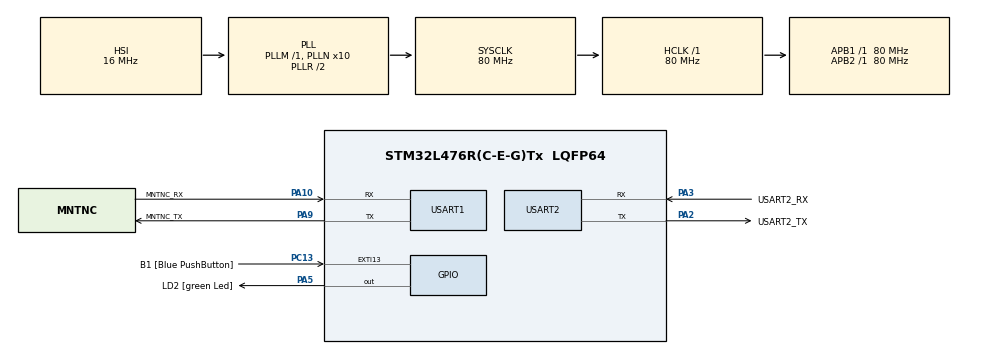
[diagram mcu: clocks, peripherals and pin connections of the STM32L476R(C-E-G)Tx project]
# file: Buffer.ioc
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Mcu.Family=STM32L4
Mcu.Name=STM32L476R(C-E-G)Tx
Mcu.Package=LQFP64
NVIC.EXTI15_10_IRQn=true\:0\:0\:false\:false\:true\:true\:true
NVIC.PriorityGroup=NVIC_PRIORITYGROUP_4
NVIC.USART1_IRQn=true\:0\:0\:false\:false\:true\:true\:true
NVIC.USART2_IRQn=true\:0\:0\:false\:false\:true\:true\:true
PA10.GPIO_Label=MNTNC_RX
PA10.Mode=Asynchronous
PA10.Signal=USART1_RX
PA13\ (JTMS-SWDIO).GPIO_Label=TMS
PA13\ (JTMS-SWDIO).Mode=Serial_Wire
PA13\ (JTMS-SWDIO).Signal=SYS_JTMS-SWDIO
PA14\ (JTCK-SWCLK).GPIO_Label=TCK
PA14\ (JTCK-SWCLK).Mode=Serial_Wire
PA14\ (JTCK-SWCLK).Signal=SYS_JTCK-SWCLK
PA2.GPIO_Label=USART2_TX
PA2.GPIO_Mode=GPIO_MODE_AF_PP
PA2.GPIO_PuPd=GPIO_NOPULL
PA2.GPIO_Speed=GPIO_SPEED_FREQ_VERY_HIGH
PA2.Mode=Asynchronous
PA2.Signal=USART2_TX
PA3.GPIO_Label=USART2_RX
PA3.GPIO_Mode=GPIO_MODE_AF_PP
PA3.GPIO_PuPd=GPIO_NOPULL
PA3.GPIO_Speed=GPIO_SPEED_FREQ_VERY_HIGH
PA3.Mode=Asynchronous
PA3.Signal=USART2_RX
PA5.GPIO_Label=LD2 [green Led]
PA5.GPIO_ModeDefaultOutputPP=GPIO_MODE_OUTPUT_PP
PA5.GPIO_PuPd=GPIO_NOPULL
PA5.GPIO_Speed=GPIO_SPEED_FREQ_LOW
PA5.Signal=GPIO_Output
PA9.GPIO_Label=MNTNC_TX
PA9.Mode=Asynchronous
PA9.Signal=USART1_TX
PB3\ (JTDO-TRACESWO).GPIO_Label=SWO
PB3\ (JTDO-TRACESWO).Signal=SYS_JTDO-SWO
PC13.GPIO_Label=B1 [Blue PushButton]
PC13.GPIO_ModeDefaultEXTI=GPIO_MODE_IT_FALLING
PC13.GPIO_PuPd=GPIO_NOPULL
PC13.Signal=GPXTI13
PC14-OSC32_IN\ (PC14).Mode=LSE-External-Oscillator
PC14-OSC32_IN\ (PC14).Signal=RCC_OSC32_IN
PC15-OSC32_OUT\ (PC15).Mode=LSE-External-Oscillator
PC15-OSC32_OUT\ (PC15).Signal=RCC_OSC32_OUT
PH0-OSC_IN\ (PH0).Signal=RCC_OSC_IN
PH1-OSC_OUT\ (PH1).Signal=RCC_OSC_OUT
ProjectManager.HeapSize=0x200
ProjectManager.StackSize=0x400
ProjectManager.TargetToolchain=MDK-ARM V5.27
RCC.ADCFreq_Value=64000000
RCC.AHBFreq_Value=80000000
RCC.APB1Freq_Value=80000000
RCC.APB1TimFreq_Value=80000000
RCC.APB2Freq_Value=80000000
RCC.APB2TimFreq_Value=80000000
RCC.CortexFreq_Value=80000000
RCC.HCLKFreq_Value=80000000
RCC.HSE_VALUE=8000000
RCC.HSI_VALUE=16000000
RCC.MSI_VALUE=4000000
RCC.PLLN=10
RCC.PLLSourceVirtual=RCC_PLLSOURCE_HSI
RCC.PREFETCH_ENABLE=1
RCC.SYSCLKFreq_VALUE=80000000
RCC.SYSCLKSource=RCC_SYSCLKSOURCE_PLLCLK
RCC.USBFreq_Value=64000000
RCC.VCOOutputFreq_Value=160000000
USART1.AutoBaudRateEnableParam=UART_ADVFEATURE_AUTOBAUDRATE_DISABLE
USART1.Parity=PARITY_NONE
USART1.VirtualMode-Asynchronous=VM_ASYNC
USART1.WordLength=WORDLENGTH_8B
USART2.VirtualMode-Asynchronous=VM_ASYNC
board=NUCLEO-L476RG

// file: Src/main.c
/* USER CODE BEGIN Header */
/**
  ******************************************************************************
  * @file           : main.c
  * @brief          : Main program body
  ******************************************************************************
  * @attention
  *
  * <h2><center>&copy; Copyright (c) 2020 STMicroelectronics.
  * All rights reserved.</center></h2>
  *
  * This software component is licensed by ST under BSD 3-Clause license,
  * the "License"; You may not use this file except in compliance with the
  * License. You may obtain a copy of the License at:
  *                        opensource.org/licenses/BSD-3-Clause
  *
  ******************************************************************************
  */
/* USER CODE END Header */

#include "main.h"

/* USER CODE BEGIN Includes */

#include "config.h"

/* USER CODE END Includes */

UART_HandleTypeDef huart1;
UART_HandleTypeDef huart2;

/* USER CODE BEGIN PV */

volatile uint8_t LED_state;	// Modes Defined Below
//Three Modes:
//- state0 : Slow Blink
//- state1 : Fast Blink
//- state2 : ON
//- state3 : OFF - DEBUG PURPOSES

const uint32_t MAGIC_CIPHER = 0xA7ABE12C;		// DO NOT FORGET TO CHANGE IN RESET_HANDLER @ STARTUP.S
const uint32_t CIPHER_ADDR 	= 0x2000FFF0;		// DO NOT FORGET TO CHANGE IN RESET_HANDLER @ STARTUP.S

/* USER CODE END PV */

void SystemClock_Config(void);
static void MX_GPIO_Init(void);
static void MX_USART2_UART_Init(void);
static void MX_USART1_UART_Init(void);
/* USER CODE BEGIN PFP */
void Reset2BootLoader(void);
void FlashWrite(uint32_t address, uint32_t data);
uint32_t FlashRead(uint32_t address);
/* USER CODE END PFP */

/* USER CODE BEGIN 0 */
uint32_t FlashRead(uint32_t address){
    return *(uint32_t*)address;
}

void FlashWrite(uint32_t address, uint32_t data){
	*((volatile uint32_t*)(address)) = data;			// 	WHEN ADDR IS @ SRAM1, IT IS SUFFICIENT
														// 	IF FLASH IS SELECTED, THE CODE BELOW
	/*		FLASH WRITER START
	uint32_t PAGEError = 0;
	FLASH_EraseInitTypeDef EraseInitStruct;
	EraseInitStruct.TypeErase = FLASH_TYPEERASE_PAGES;
	EraseInitStruct.Page = 255;
	EraseInitStruct.NbPages = 1;
	EraseInitStruct.Banks	= FLASH_BANK_1;

	HAL_FLASH_Unlock();
	__HAL_FLASH_CLEAR_FLAG(FLASH_FLAG_EOP | FLASH_FLAG_OPERR | FLASH_FLAG_WRPERR | FLASH_FLAG_PGAERR | FLASH_FLAG_PGSERR );

	if (HAL_FLASHEx_Erase(&EraseInitStruct, &PAGEError) != HAL_OK)
		HAL_FLASH_GetError();

	HAL_FLASH_Program(FLASH_TYPEPROGRAM_DOUBLEWORD, address, data);
	HAL_FLASH_Lock();
				FLASH WRITER END		*/
}

void Reset2BootLoader(void)
{
  FlashWrite(CIPHER_ADDR , MAGIC_CIPHER); 		// Write Special Code "ATABERK" to End of the SRAM2 0x2000 0000
	HAL_NVIC_ClearPendingIRQ(USART1_IRQn);		// USART1 Pending Bit RESET
  __DSB();										// Blocking The Program until every memory instructions are done.
  NVIC_SystemReset(); 							// Soft-RESET -> startup.s file -> RESET_HANDLER + REBOOT_LOADER
}
/* USER CODE END 0 */

int main(void)
{
  /* USER CODE BEGIN 1 */
	LED_state = LED_SLOW_STATE;	// INIT with slow blink mode.
	uint8_t RX_BUFFER[RX_BUFFER_SIZE];
  /* USER CODE END 1 */

  /* MCU Configuration--------------------------------------------------------*/

  /* Reset of all peripherals, Initializes the Flash interface and the Systick. */
  HAL_Init();

  /* Configure the system clock */
  SystemClock_Config();

  /* Initialize all configured peripherals */
  MX_GPIO_Init();
  MX_USART2_UART_Init();
  MX_USART1_UART_Init();
  /* USER CODE BEGIN 2 */
	__HAL_UART_ENABLE_IT(&huart1, UART_IT_RXNE);
	HAL_UART_Receive_IT(&huart1, RX_BUFFER, RX_BUFFER_SIZE);

  /* USER CODE END 2 */

  /* Infinite loop */
  while (1)
  {

    /* USER CODE BEGIN 3 */

		switch(LED_state){
			case LED_SLOW_STATE:
				HAL_Delay(SLOW_BLINK_DELAY);
				HAL_GPIO_TogglePin(GPIOA, GPIO_PIN_5);
				break;
			case LED_FAST_STATE:
				HAL_Delay(FAST_BLINK_DELAY);
				HAL_GPIO_TogglePin(GPIOA, GPIO_PIN_5);
				break;
			case LED_ON_STATE:
				HAL_GPIO_WritePin(GPIOA, GPIO_PIN_5, GPIO_PIN_SET);
				break;
			case LED_OFF_STATE:
				HAL_GPIO_WritePin(GPIOA, GPIO_PIN_5, GPIO_PIN_RESET);
				break;

		}
  }
  /* USER CODE END 3 */
}

void SystemClock_Config(void)
{
  RCC_OscInitTypeDef RCC_OscInitStruct = {0};
  RCC_ClkInitTypeDef RCC_ClkInitStruct = {0};
  RCC_PeriphCLKInitTypeDef PeriphClkInit = {0};

  /** Initializes the CPU, AHB and APB busses clocks
  */
  RCC_OscInitStruct.OscillatorType = RCC_OSCILLATORTYPE_HSI;
  RCC_OscInitStruct.HSIState = RCC_HSI_ON;
  RCC_OscInitStruct.HSICalibrationValue = RCC_HSICALIBRATION_DEFAULT;
  RCC_OscInitStruct.PLL.PLLState = RCC_PLL_ON;
  RCC_OscInitStruct.PLL.PLLSource = RCC_PLLSOURCE_HSI;
  RCC_OscInitStruct.PLL.PLLM = 1;
  RCC_OscInitStruct.PLL.PLLN = 10;
  RCC_OscInitStruct.PLL.PLLP = RCC_PLLP_DIV7;
  RCC_OscInitStruct.PLL.PLLQ = RCC_PLLQ_DIV2;
  RCC_OscInitStruct.PLL.PLLR = RCC_PLLR_DIV2;
  if (HAL_RCC_OscConfig(&RCC_OscInitStruct) != HAL_OK)
  {
    Error_Handler();
  }
  /** Initializes the CPU, AHB and APB busses clocks
  */
  RCC_ClkInitStruct.ClockType = RCC_CLOCKTYPE_HCLK|RCC_CLOCKTYPE_SYSCLK
                              |RCC_CLOCKTYPE_PCLK1|RCC_CLOCKTYPE_PCLK2;
  RCC_ClkInitStruct.SYSCLKSource = RCC_SYSCLKSOURCE_PLLCLK;
  RCC_ClkInitStruct.AHBCLKDivider = RCC_SYSCLK_DIV1;
  RCC_ClkInitStruct.APB1CLKDivider = RCC_HCLK_DIV1;
  RCC_ClkInitStruct.APB2CLKDivider = RCC_HCLK_DIV1;

  if (HAL_RCC_ClockConfig(&RCC_ClkInitStruct, FLASH_LATENCY_4) != HAL_OK)
  {
    Error_Handler();
  }
  PeriphClkInit.PeriphClockSelection = RCC_PERIPHCLK_USART1|RCC_PERIPHCLK_USART2;
  PeriphClkInit.Usart1ClockSelection = RCC_USART1CLKSOURCE_PCLK2;
  PeriphClkInit.Usart2ClockSelection = RCC_USART2CLKSOURCE_PCLK1;
  if (HAL_RCCEx_PeriphCLKConfig(&PeriphClkInit) != HAL_OK)
  {
    Error_Handler();
  }
  /** Configure the main internal regulator output voltage
  */
  if (HAL_PWREx_ControlVoltageScaling(PWR_REGULATOR_VOLTAGE_SCALE1) != HAL_OK)
  {
    Error_Handler();
  }
}

static void MX_USART1_UART_Init(void)
{

  huart1.Instance = USART1;
  huart1.Init.BaudRate = 115200;
  huart1.Init.WordLength = UART_WORDLENGTH_8B;
  huart1.Init.StopBits = UART_STOPBITS_1;
  huart1.Init.Parity = UART_PARITY_NONE;
  huart1.Init.Mode = UART_MODE_TX_RX;
  huart1.Init.HwFlowCtl = UART_HWCONTROL_NONE;
  huart1.Init.OverSampling = UART_OVERSAMPLING_16;
  huart1.Init.OneBitSampling = UART_ONE_BIT_SAMPLE_DISABLE;
  huart1.AdvancedInit.AdvFeatureInit = UART_ADVFEATURE_NO_INIT;
  if (HAL_UART_Init(&huart1) != HAL_OK)
  {
    Error_Handler();
  }

}

static void MX_USART2_UART_Init(void)
{

  huart2.Instance = USART2;
  huart2.Init.BaudRate = 115200;
  huart2.Init.WordLength = UART_WORDLENGTH_8B;
  huart2.Init.StopBits = UART_STOPBITS_1;
  huart2.Init.Parity = UART_PARITY_NONE;
  huart2.Init.Mode = UART_MODE_TX_RX;
  huart2.Init.HwFlowCtl = UART_HWCONTROL_NONE;
  huart2.Init.OverSampling = UART_OVERSAMPLING_16;
  huart2.Init.OneBitSampling = UART_ONE_BIT_SAMPLE_DISABLE;
  huart2.AdvancedInit.AdvFeatureInit = UART_ADVFEATURE_NO_INIT;
  if (HAL_UART_Init(&huart2) != HAL_OK)
  {
    Error_Handler();
  }

}

static void MX_GPIO_Init(void)
{
  GPIO_InitTypeDef GPIO_InitStruct = {0};

  /* GPIO Ports Clock Enable */
  __HAL_RCC_GPIOC_CLK_ENABLE();
  __HAL_RCC_GPIOH_CLK_ENABLE();
  __HAL_RCC_GPIOA_CLK_ENABLE();
  __HAL_RCC_GPIOB_CLK_ENABLE();

  /*Configure GPIO pin Output Level */
  HAL_GPIO_WritePin(LD2_GPIO_Port, LD2_Pin, GPIO_PIN_RESET);

  /*Configure GPIO pin : B1_Pin */
  GPIO_InitStruct.Pin = B1_Pin;
  GPIO_InitStruct.Mode = GPIO_MODE_IT_FALLING;
  GPIO_InitStruct.Pull = GPIO_NOPULL;
  HAL_GPIO_Init(B1_GPIO_Port, &GPIO_InitStruct);

  /*Configure GPIO pin : LD2_Pin */
  GPIO_InitStruct.Pin = LD2_Pin;
  GPIO_InitStruct.Mode = GPIO_MODE_OUTPUT_PP;
  GPIO_InitStruct.Pull = GPIO_NOPULL;
  GPIO_InitStruct.Speed = GPIO_SPEED_FREQ_LOW;
  HAL_GPIO_Init(LD2_GPIO_Port, &GPIO_InitStruct);

  /* EXTI interrupt init*/
  HAL_NVIC_SetPriority(EXTI15_10_IRQn, 0, 0);
  HAL_NVIC_EnableIRQ(EXTI15_10_IRQn);

}

/* USER CODE BEGIN 4 */
uint8_t rxChar;
void HAL_UART_RxCpltCallback(UART_HandleTypeDef *huart) {
 __NOP();		// DEBUG BREAKPOINT

 /* set up to receive another char */
 HAL_UART_Receive_IT(&huart1, &rxChar, 1);
}

/* USER CODE END 4 */

void Error_Handler(void)
{
}

/************************ (C) COPYRIGHT STMicroelectronics *****END OF FILE****/
